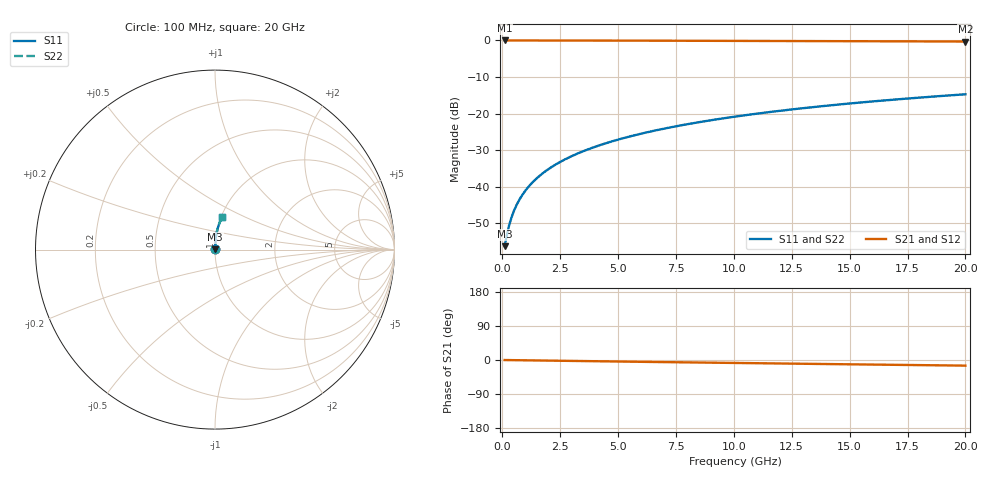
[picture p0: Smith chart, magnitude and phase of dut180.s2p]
! Touchstone file exported from HFSS 2024.1.0
!  File:  C:/UserFiles/LocalFiles/RDL_TSV_Batchsim/temp_RDL_top_180_1778686235.aedt
!  Generated:  11:32:48 PM May 13, 2026
!  Design:  RDL_top
!  Project:  temp_RDL_top_180_1778686235
!  Setup:  Setup1
!  Solution:  Sweep
! Variables:
!  dtsv = 10.80580581um
!  hbump = 3um
!  htsv = 74.83um
!  ldown = 100um
!  lrdl = 163.04um
!  p = 40
!  p1 = 47.91um
!  rhole = 1um
!  t = 450um
!  tdown = 3.915915916um
!  trdl = 3.33um
!  wdown = 15.38538539um
!  wrdl = 16.65um
# GHz S MA R 50.000000
! Terminal data exported
! Port[1] = Box2_T1
! Port[2] = Box2_T2
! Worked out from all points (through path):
!   200 points, 100 MHz to 20 GHz, reference 50 ohm
!   highest |S21| = -0.01 dB at 100 MHz (marker M1); lowest = -0.3 dB at 20 GHz (marker M2)
!   group delay of S21, straight-line fit = 2.05 ps
!   lowest |S11| = -56.2 dB at 100 MHz (marker M3), VSWR 1.00, Z = 50.1 + j0.0923 ohm
!   |S11| at or under -10 dB: start of sweep to end of sweep
!   |S22| runs from -56.2 to -14.7 dB; largest |S21 - S12| = 2.1e-15
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0.1  0.001549 36.5  0.9988 -0.1  0.9988 -0.1  0.001549 36.5
! Gamma 0 0 0 0
! Port Impedance 50 0 50 0
0.2  0.00223 55.1  0.9987 -0.2  0.9987 -0.2  0.00223 55.1
0.3  0.003021 64.3  0.9987 -0.3  0.9987 -0.3  0.003021 64.3
0.4  0.003844 69.5  0.9986 -0.3  0.9986 -0.3  0.003844 69.5
0.5  0.004677 72.8  0.9986 -0.4  0.9986 -0.4  0.004677 72.8
0.6  0.005516 75.2  0.9985 -0.5  0.9985 -0.5  0.005516 75.2
0.8  0.007205 78.4  0.9984 -0.7  0.9984 -0.7  0.007205 78.4
1.1  0.009761 81.2  0.9983 -0.9  0.9983 -0.9  0.009761 81.2
1.5  0.0132 83.3  0.9981 -1.2  0.9981 -1.2  0.0132 83.3
1.8  0.0158 84.3  0.9979 -1.5  0.9979 -1.5  0.0158 84.3
2.1  0.01841 85.0  0.9977 -1.7  0.9977 -1.7  0.01841 85.0
2.7  0.02366 85.8  0.9972 -2.2  0.9972 -2.2  0.02366 85.8
3.5  0.03073 86.4  0.9963 -2.8  0.9963 -2.8  0.03073 86.4
4.2  0.03698 86.7  0.9955 -3.4  0.9955 -3.4  0.03698 86.7
5  0.04419 86.7  0.9943 -4.0  0.9943 -4.0  0.04419 86.7
5.9  0.0524 86.6  0.9929 -4.7  0.9929 -4.7  0.0524 86.6
6.8  0.06068 86.4  0.9915 -5.4  0.9915 -5.4  0.06068 86.4
8.3  0.07463 85.7  0.9888 -6.5  0.9888 -6.5  0.07463 85.7
10.1  0.09153 84.7  0.9855 -7.9  0.9855 -7.9  0.09153 84.7
13.4  0.1226 82.6  0.9791 -10.2  0.9791 -10.2  0.1226 82.6
16.7  0.1534 80.2  0.9724 -12.6  0.9724 -12.6  0.1534 80.2
20  0.1837 77.7  0.9654 -14.9  0.9654 -14.9  0.1837 77.7
